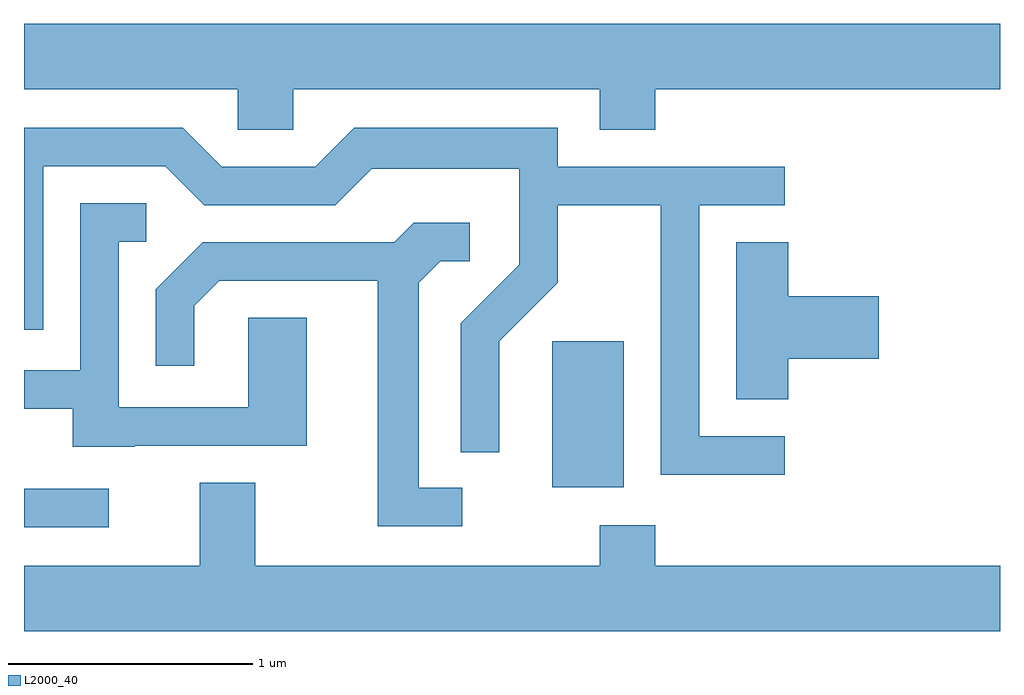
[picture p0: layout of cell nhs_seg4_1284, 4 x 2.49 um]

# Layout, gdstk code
import gdstk
lib = gdstk.Library(unit=1e-6, precision=1e-09)
def R(c, l, rs):  # rectangles x0, y0, x1, y1
    for r in rs: c.add(gdstk.rectangle(r[:2], r[2:], *l))
def P(c, l, *ps):  # polygons
    for p in ps: c.add(gdstk.Polygon(p, *l))
L2000_40 = (2000, 40)

nhs_seg4_1284 = lib.new_cell('nhs_seg4_1284')
R(nhs_seg4_1284, L2000_40, [(221.611,1375.081,221.958,1375.239), (223.776,1375.246,224.069,1375.844)])
P(nhs_seg4_1284, L2000_40, [(222.714,1376.876),(223.971,1376.876),(223.971,1376.711),(224.199,1376.711),(224.199,1376.876),(225.611,1376.876),(225.611,1377.144),(221.611,1377.144),(221.611,1376.876),(222.486,1376.876),(222.486,1376.711),(222.714,1376.711)],
  [(224.728,1375.454),(224.379,1375.454),(224.379,1376.401),(224.728,1376.401),(224.728,1376.559),(223.799,1376.559),(223.799,1376.719),(222.964,1376.719),(222.804,1376.559),(222.422,1376.559),(222.262,1376.719),(221.611,1376.719),(221.611,1375.891),(221.689,1375.891),(221.689,1376.561),(222.189,1376.561),(222.349,1376.401),(222.887,1376.401),(223.037,1376.551),(223.641,1376.551),(223.641,1376.157),(223.401,1375.917),(223.401,1375.388),(223.559,1375.388),(223.559,1375.844),(223.799,1376.084),(223.799,1376.401),(224.221,1376.401),(224.221,1375.296),(224.728,1375.296)],
  [(222.065,1375.416),(222.769,1375.416),(222.769,1375.939),(222.531,1375.939),(222.531,1375.574),(221.999,1375.574),(221.999,1376.251),(222.113,1376.251),(222.113,1376.409),(221.841,1376.409),(221.841,1375.724),(221.611,1375.724),(221.611,1375.566),(221.811,1375.566),(221.811,1375.411),(222.065,1375.411)],
  [(223.408,1375.244),(223.229,1375.244),(223.229,1376.084),(223.317,1376.171),(223.438,1376.171),(223.438,1376.329),(223.209,1376.329),(223.129,1376.249),(222.344,1376.249),(222.151,1376.057),(222.151,1375.743),(222.309,1375.743),(222.309,1375.989),(222.412,1376.091),(223.061,1376.091),(223.061,1375.086),(223.408,1375.086)],
  [(224.744,1375.771),(225.114,1375.771),(225.114,1376.029),(224.744,1376.029),(224.744,1376.249),(224.531,1376.249),(224.531,1375.606),(224.744,1375.606)],
  [(225.611,1374.924),(224.199,1374.924),(224.199,1375.089),(223.971,1375.089),(223.971,1374.924),(222.559,1374.924),(222.559,1375.264),(222.331,1375.264),(222.331,1374.924),(221.611,1374.924),(221.611,1374.656),(225.611,1374.656)])

lib.write_gds('nhs_seg4_1284.gds')
